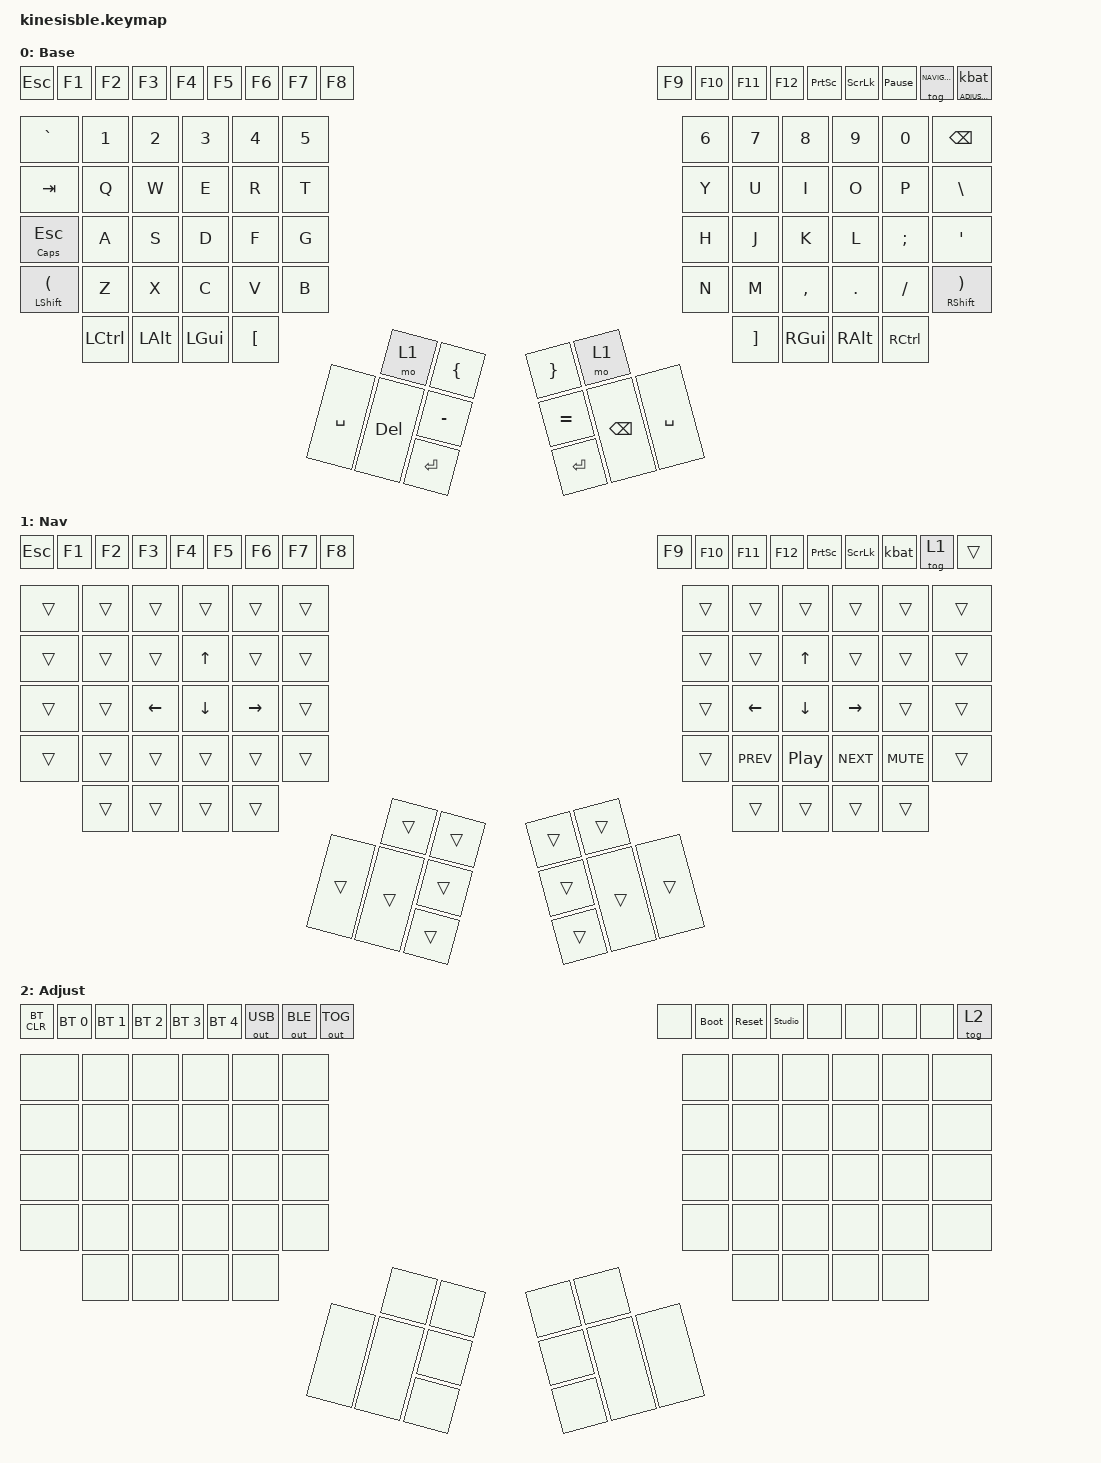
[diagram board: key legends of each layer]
/*
 * Copyright (c) 2021 The ZMK Contributors
 *
 * SPDX-License-Identifier: MIT
 */

#include <behaviors.dtsi>
#include <dt-bindings/zmk/keys.h>
#include <dt-bindings/zmk/bt.h>
#include <dt-bindings/zmk/outputs.h>

#define DEFAULT 0
#define NAVIGATION   1
#define ADJUSTMENT   2


/ {
    behaviors {
        // Program key: hold to toggle a layer, tap to show the battery level
        prog_key: program_key {
            compatible = "zmk,behavior-hold-tap";
            display-name = "Program Key";
            #binding-cells = <2>;
            tapping-term-ms = <500>;
            bindings = <&tog>, <&kbat>;
            hold-trigger-on-release;
        };
    };

    keymap0: keymap {
        compatible = "zmk,keymap";

        default_layer {
            display-name = "Base";
            bindings = <
            &kp ESC &kp F1 &kp F2 &kp F3 &kp F4 &kp F5 &kp F6 &kp F7 &kp F8 &kp F9 &kp F10 &kp F11  &kp F12 &kp PSCRN &kp SLCK &kp PAUSE_BREAK &tog NAVIGATION &prog_key ADJUSTMENT 0
            &kp GRAVE &kp N1    &kp N2   &kp N3    &kp N4    &kp N5          &kp N6   &kp N7   &kp N8    &kp N9   &kp N0   &kp BACKSPACE
            &kp TAB   &kp Q     &kp W    &kp E     &kp R     &kp T           &kp Y    &kp U    &kp I     &kp O    &kp P    &kp BSLH
            &mt CLCK ESC  &kp A     &kp S    &kp D     &kp F     &kp G           &kp H    &kp J    &kp K     &kp L    &kp SEMI &kp SQT
            &mt LSHFT LPAR &kp Z     &kp X    &kp C     &kp V     &kp B           &kp N    &kp M    &kp COMMA &kp DOT  &kp FSLH &mt RSHFT RPAR
            &kp LCTRL &kp LALT &kp LGUI  &kp LEFT_BRACKET                          &kp RIGHT_BRACKET   &kp RGUI  &kp RALT &kp RCTRL
            &mo 1 &kp LEFT_BRACE        &kp RIGHT_BRACE &mo 1
            &kp SPACE  &kp DEL   &kp MINUS        &kp EQUAL &kp BSPC &kp SPACE
            &kp ENTER         &kp ENTER
            >;
        };

        navigation_layer {
            display-name = "Nav";
            bindings = <
            &kp ESC &kp F1 &kp F2 &kp F3 &kp F4 &kp F5 &kp F6 &kp F7 &kp F8 &kp F9 &kp F10 &kp F11  &kp F12 &kp PSCRN &kp SLCK &kbat &tog 1 &trans
            &trans  &trans  &trans    &trans   &trans  &trans                             &trans     &trans   &trans    &trans     &trans    &trans
            &trans  &trans  &trans    &kp UP   &trans  &trans                            &trans          &trans            &kp UP      &trans      &trans  &trans
            &trans  &trans  &kp LEFT  &kp DOWN  &kp RIGHT &trans                          &trans        &kp LEFT          &kp DOWN   &kp RIGHT      &trans  &trans
            &trans  &trans  &trans    &trans   &trans  &trans                             &trans  &kp C_PREV  &kp C_PLAY_PAUSE  &kp C_NEXT  &kp C_MUTE  &trans
            &trans       &trans       &trans      &trans                          &trans      &trans     &trans    &trans
            &trans  &trans          &trans  &trans
            &trans  &trans  &trans          &trans  &trans &trans
            &trans          &trans
            >;
        };
        adjustment_layer {
            display-name = "Adjust";
            bindings = <
            &bt BT_CLR &bt BT_SEL 0  &bt BT_SEL 1  &bt BT_SEL 2  &bt BT_SEL 3  &bt BT_SEL 4 &out OUT_USB &out OUT_BLE &out OUT_TOG  &none &bootloader &sys_reset  &studio_unlock &none &none &none &none &tog 2
            &none  &none  &none  &none  &none  &none                                      &none  &none  &none  &none  &none  &none
            &none  &none  &none  &none  &none  &none                                      &none  &none  &none  &none  &none  &none
            &none  &none  &none  &none  &none  &none                                      &none  &none  &none  &none  &none  &none
            &none  &none  &none  &none  &none  &none                                      &none  &none  &none  &none  &none  &none
            &none  &none  &none  &none                                      &none  &none  &none  &none
            &none  &none                        &none  &none
            &none  &none  &none                        &none  &none &none
            &none                        &none
            >;
        };
    };
};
